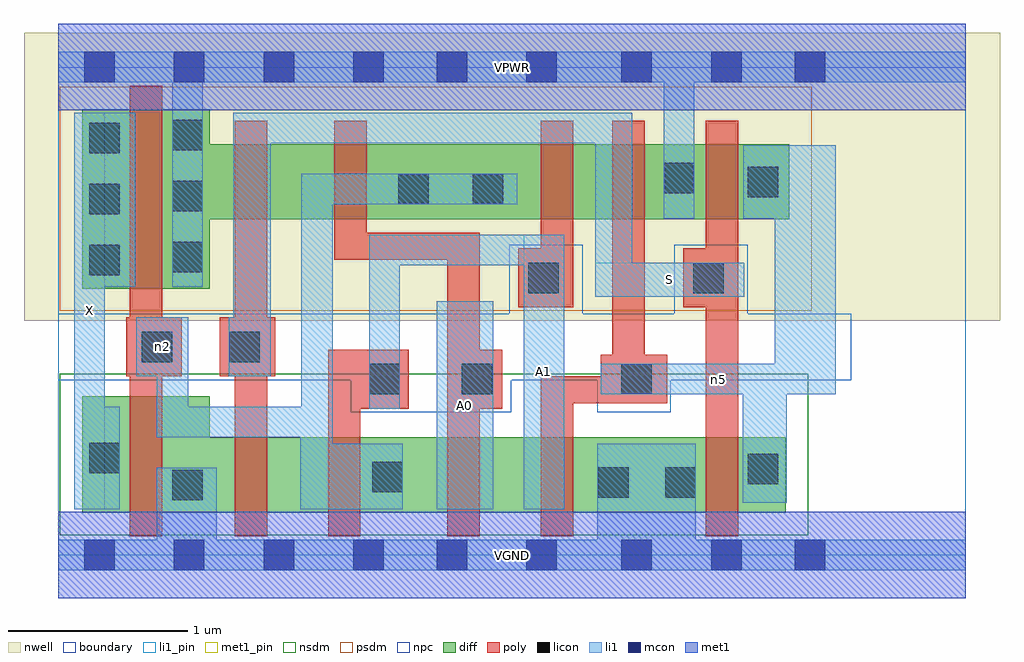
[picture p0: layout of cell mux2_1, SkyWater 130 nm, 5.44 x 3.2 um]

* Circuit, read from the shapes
.subckt mux2_1 A0 A1 S VGND VPWR X n2 n5
XM1 VGND n2 X VSUBS sky130_fd_pr__nfet_01v8 w=0.65 l=0.18
XM2 n1 S VGND VSUBS sky130_fd_pr__nfet_01v8 w=0.42 l=0.18
XM3 n2 A1 n1 VSUBS sky130_fd_pr__nfet_01v8 w=0.42 l=0.18
XM4 n3 A0 n2 VSUBS sky130_fd_pr__nfet_01v8 w=0.42 l=0.18
XM5 VGND n5 n3 VSUBS sky130_fd_pr__nfet_01v8 w=0.42 l=0.18
XM6 n5 S VGND VSUBS sky130_fd_pr__nfet_01v8 w=0.42 l=0.18
XM7 VPWR n2 X n4 sky130_fd_pr__pfet_01v8 w=1 l=0.18
XM8 n6 S VPWR n4 sky130_fd_pr__pfet_01v8 w=0.42 l=0.18
XM9 n2 A0 n6 n4 sky130_fd_pr__pfet_01v8 w=0.42 l=0.18
XM10 n7 A1 n2 n4 sky130_fd_pr__pfet_01v8 w=0.42 l=0.18
XM11 VPWR n5 n7 n4 sky130_fd_pr__pfet_01v8 w=0.42 l=0.18
XM12 n5 S VPWR n4 sky130_fd_pr__pfet_01v8 w=0.42 l=0.18
.ends

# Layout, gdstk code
import gdstk
lib = gdstk.Library(unit=1e-6, precision=1e-09)
def R(c, l, rs):  # rectangles x0, y0, x1, y1
    for r in rs: c.add(gdstk.rectangle(r[:2], r[2:], *l))
def A(c, l, x, y, w, h, nx, ny, dx, dy):  # array of equal rectangles
    R(c, l, [(x+i*dx, y+j*dy, x+i*dx+w, y+j*dy+h) for i in range(nx) for j in range(ny)])
nwell = (64, 20)
diff = (65, 20)
poly = (66, 20)
licon = (66, 44)
li1_pin = (67, 16)
li1 = (67, 20)
mcon = (67, 44)
met1_pin = (68, 16)
met1 = (68, 20)
nsdm = (93, 44)
psdm = (94, 20)
npc = (95, 20)
boundary = (235, 4)

mux2_1 = lib.new_cell('mux2_1')
R(mux2_1, nwell, [(-0.19,1.305,5.25,2.91), (0,1.305,5.06,2.91)])
R(mux2_1, diff, [(0.135,0.235,4.055,0.655), (0.135,0.235,0.845,0.885), (0.135,1.485,0.845,2.485), (0.135,1.87,4.075,2.29)])
R(mux2_1, poly, [(0.4,0.105,0.58,2.615), (0.985,0.105,1.165,2.42), (1.505,0.105,1.685,1.145), (2.17,0.105,2.35,1.795), (2.69,0.105,2.87,0.995), (3.61,0.105,3.79,2.42), (1.505,0.815,1.955,1.145), (2.17,0.815,2.475,1.145), (2.69,0.845,3.395,0.995), (3.025,0.845,3.395,1.115), (3.09,0.845,3.27,2.42), (0.38,0.995,0.69,1.325), (0.9,0.995,1.21,1.325), (2.565,1.38,2.87,1.71), (2.69,1.38,2.87,2.42), (3.485,1.38,3.79,1.71), (1.54,1.645,1.72,2.42), (1.54,1.645,2.35,1.795)])
A(mux2_1, licon, 0.175, 1.56, 0.17, 0.17, 1, 3, 0, 0.34)
A(mux2_1, licon, 0.635, 1.575, 0.17, 0.17, 1, 3, 0, 0.34)
R(mux2_1, licon, [(0.635,0.305,0.805,0.475), (3.01,0.32,3.18,0.49), (3.385,0.32,3.555,0.49), (1.75,0.35,1.92,0.52), (3.845,0.395,4.015,0.565), (0.175,0.455,0.345,0.625), (1.735,0.895,1.905,1.065), (2.25,0.895,2.42,1.065), (3.14,0.895,3.31,1.065), (0.465,1.075,0.635,1.245), (0.955,1.075,1.125,1.245), (2.62,1.46,2.79,1.63), (3.54,1.46,3.71,1.63), (1.895,1.955,2.065,2.125), (2.31,1.955,2.48,2.125), (3.845,1.995,4.015,2.165), (3.375,2.015,3.545,2.185)])
R(mux2_1, li1_pin, [(0.09,0.255,0.26,2.465), (2.11,0.255,2.425,1.415), (2.595,0.255,2.82,1.785), (2.995,1.44,3.825,1.63)])
R(mux2_1, li1, [(0,-0.085,5.06,0.085), (0.55,-0.085,0.885,0.485), (3.005,-0.085,3.555,0.62), (0.09,0.255,0.26,2.465), (0.09,0.255,0.345,0.825), (1.35,0.255,1.92,0.62), (1.35,0.255,1.53,0.825), (1.355,0.255,1.53,2.125), (2.11,0.255,2.425,1.415), (2.595,0.255,2.82,1.785), (3.815,0.29,4.06,1.065), (0.55,0.655,1.53,0.825), (0.55,0.655,0.725,1.325), (1.735,0.815,1.905,1.785), (3.025,0.895,4.335,1.065), (3.995,0.895,4.335,2.285), (0.435,0.995,0.725,1.325), (0.95,0.995,1.185,1.325), (0.975,0.995,1.185,2.465), (2.995,1.44,3.2,2.465), (2.995,1.44,3.825,1.63), (0.09,1.495,0.43,2.465), (0.635,1.495,0.805,2.805), (1.735,1.615,2.82,1.785), (3.375,1.875,3.545,2.805), (3.82,1.875,4.335,2.285), (1.355,1.955,2.56,2.125), (0.975,2.295,3.2,2.465), (0,2.635,5.06,2.805)])
A(mux2_1, mcon, 0.145, -0.085, 0.17, 0.17, 4, 2, 0.5, 2.72)
R(mux2_1, mcon, [(2.11,-0.085,2.28,0.085), (2.61,-0.085,2.78,0.085), (3.14,-0.085,3.31,0.085), (3.64,-0.085,3.81,0.085), (4.105,-0.085,4.275,0.085), (2.11,2.635,2.28,2.805), (2.61,2.635,2.78,2.805), (3.14,2.635,3.31,2.805), (3.64,2.635,3.81,2.805), (4.105,2.635,4.275,2.805)])
R(mux2_1, met1_pin, [(0,-0.24,5.06,0.24), (0,2.48,5.06,2.96)])
R(mux2_1, met1, [(0,-0.24,5.06,0.24), (0,2.48,5.06,2.96)])
R(mux2_1, nsdm, [(0.01,0.11,4.18,1.01)])
R(mux2_1, psdm, [(0.01,1.36,4.2,2.61)])
R(mux2_1, npc, [(1.63,0.795,2.525,1.345), (3.005,0.795,3.415,1.345), (0,0.975,4.42,1.345), (2.515,0.975,2.925,1.73), (3.435,0.975,3.845,1.73)])
R(mux2_1, boundary, [(0,0,5.06,2.72)])
mux2_1.add(gdstk.Label('A0', (2.267,0.835), layer=67, texttype=5))
mux2_1.add(gdstk.Label('A1', (2.707,1.02), layer=67, texttype=5))
mux2_1.add(gdstk.Label('S', (3.41,1.535), layer=67, texttype=5))
mux2_1.add(gdstk.Label('X', (0.175,1.36), layer=67, texttype=5))
mux2_1.add(gdstk.Label('n2', (0.58,1.16), layer=67, texttype=5))
mux2_1.add(gdstk.Label('n5', (3.68,0.98), layer=67, texttype=5))
mux2_1.add(gdstk.Label('VPWR', (2.53,2.72), layer=68, texttype=5))
mux2_1.add(gdstk.Label('VGND', (2.53,0), layer=68, texttype=5))
mux2_1.add(gdstk.Label('A0', (2.267,0.835), layer=67, texttype=16))
mux2_1.add(gdstk.Label('A1', (2.707,1.02), layer=67, texttype=16))
mux2_1.add(gdstk.Label('S', (3.41,1.535), layer=67, texttype=16))
mux2_1.add(gdstk.Label('X', (0.175,1.36), layer=67, texttype=16))
mux2_1.add(gdstk.Label('VPWR', (2.53,2.72), layer=68, texttype=16))
mux2_1.add(gdstk.Label('VGND', (2.53,0), layer=68, texttype=16))

lib.write_gds('mux2_1.gds')
